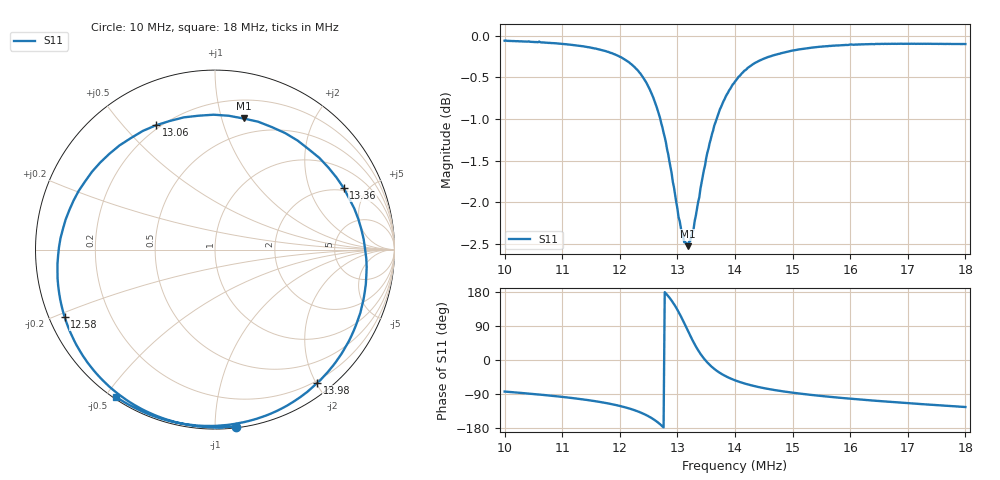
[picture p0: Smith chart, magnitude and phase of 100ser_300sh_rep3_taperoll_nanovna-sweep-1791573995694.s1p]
! NanoVNA Web complex sweep
! Processing: original sample grid, no browser smoothing
# Hz S RI R 50
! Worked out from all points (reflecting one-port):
!   401 points, 10 MHz to 18 MHz, reference 50 ohm
!   lowest |S11| = -2.5 dB at 13.18 MHz (marker M1), VSWR 6.92, Z = 17.8 + j58.9 ohm
!   phase of S11 starts at -83 deg and turns -401 deg over the sweep
!   S11 on the Smith chart (normalised r, x): 10 MHz: 0.01, -1.12; 12.58 MHz: 0.04, -0.21; 13.06 MHz: 0.18, +0.62; 13.36 MHz: 1.85, +3.46; 13.98 MHz: 0.17, -2.02; 18 MHz: 0.01, -0.53
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1e7  0.1161 -0.9862
1.1e7  -0.1259 -0.9806
1.158e7  -0.3172 -0.9298
1.2e7  -0.5036 -0.8305
1.232e7  -0.6859 -0.6608
1.246e7  -0.7722 -0.5311
1.258e7  -0.838 -0.3754
1.272e7  -0.8777 -0.12
1.282e7  -0.847 0.116
1.292e7  -0.7227 0.3813
1.3e7  -0.5318 0.5807
1.306e7  -0.3292 0.6926
1.312e7  -0.0906 0.746
1.318e7  0.1588 0.7305
1.328e7  0.5211 0.5599
1.336e7  0.716 0.3444
1.342e7  0.7984 0.1707
1.348e7  0.8359 0.00484
1.364e7  0.8097 -0.3524
1.38e7  0.7035 -0.5825
1.398e7  0.5708 -0.742
1.4e7  0.5572 -0.7551
1.418e7  0.4384 -0.8466
1.44e7  0.3137 -0.9127
1.5e7  0.064 -0.9774
1.6e7  -0.205 -0.9663
1.7e7  -0.4002 -0.9043
1.8e7  -0.5539 -0.8186
